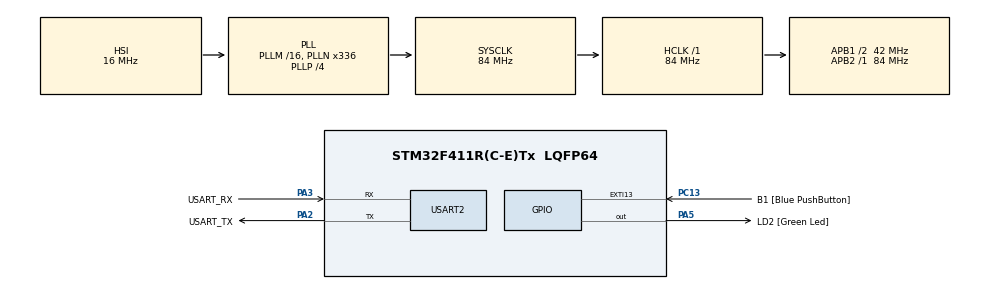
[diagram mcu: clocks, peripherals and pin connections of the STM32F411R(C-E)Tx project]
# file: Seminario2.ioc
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Mcu.Family=STM32F4
Mcu.Name=STM32F411R(C-E)Tx
Mcu.Package=LQFP64
NVIC.PriorityGroup=NVIC_PRIORITYGROUP_0
PA13.GPIO_Label=TMS
PA13.Mode=Serial_Wire
PA13.Signal=SYS_JTMS-SWDIO
PA14.GPIO_Label=TCK
PA14.Mode=Serial_Wire
PA14.Signal=SYS_JTCK-SWCLK
PA2.GPIO_Label=USART_TX
PA2.Mode=Asynchronous
PA2.Signal=USART2_TX
PA3.GPIO_Label=USART_RX
PA3.Mode=Asynchronous
PA3.Signal=USART2_RX
PA5.GPIO_Label=LD2 [Green Led]
PA5.Signal=GPIO_Output
PB3.GPIO_Label=SWO
PB3.Signal=SYS_JTDO-SWO
PC13-ANTI_TAMP.GPIO_Label=B1 [Blue PushButton]
PC13-ANTI_TAMP.GPIO_ModeDefaultEXTI=GPIO_MODE_IT_FALLING
PC13-ANTI_TAMP.Signal=GPXTI13
PC14-OSC32_IN.Mode=LSE-External-Oscillator
PC14-OSC32_IN.Signal=RCC_OSC32_IN
PC15-OSC32_OUT.Mode=LSE-External-Oscillator
PC15-OSC32_OUT.Signal=RCC_OSC32_OUT
PH0\ -\ OSC_IN.Mode=HSE-External-Clock-Source
PH0\ -\ OSC_IN.Signal=RCC_OSC_IN
PH1\ -\ OSC_OUT.Mode=HSE-External-Clock-Source
PH1\ -\ OSC_OUT.Signal=RCC_OSC_OUT
ProjectManager.HeapSize=0x200
ProjectManager.StackSize=0x400
ProjectManager.TargetToolchain=CMake
RCC.48MHZClocksFreq_Value=84000000
RCC.AHBFreq_Value=84000000
RCC.APB1CLKDivider=RCC_HCLK_DIV2
RCC.APB1Freq_Value=42000000
RCC.APB1TimFreq_Value=84000000
RCC.APB2Freq_Value=84000000
RCC.APB2TimFreq_Value=84000000
RCC.CortexFreq_Value=84000000
RCC.FLatency-AdvancedSettings=FLASH_LATENCY_2
RCC.HCLKFreq_Value=84000000
RCC.HSE_VALUE=8000000
RCC.HSI_VALUE=16000000
RCC.PLLN=336
RCC.PLLP=RCC_PLLP_DIV4
RCC.SYSCLKFreq_VALUE=84000000
RCC.SYSCLKSource=RCC_SYSCLKSOURCE_PLLCLK
RCC.VCOOutputFreq_Value=336000000
USART2.VirtualMode=VM_ASYNC
board=NUCLEO-F411RE

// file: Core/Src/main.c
/* USER CODE BEGIN Header */
/**
  ******************************************************************************
  * @file           : main.c
  * @brief          : Main program body
  ******************************************************************************
  * @attention
  *
  * Copyright (c) 2026 STMicroelectronics.
  * All rights reserved.
  *
  * This software is licensed under terms that can be found in the LICENSE file
  * in the root directory of this software component.
  * If no LICENSE file comes with this software, it is provided AS-IS.
  *
  ******************************************************************************
  */
/* USER CODE END Header */
#include "main.h"

/* USER CODE BEGIN Includes */
#include <stdio.h>
/* USER CODE END Includes */

/* USER CODE BEGIN PD */
#define ABS(a)  (a < 0 ? -a : a)
#define PRINTVEC(v,a,b)                         \
do {                                              \
    int _i; \
    int _longitud = sizeof(v) / sizeof(v[0]);     \
    if ((a) <= (b) && (a) >= 0 && (b) < _longitud) {   \
        for (_i = (a); _i <= (b); _i++) {         \
            printf("Abs en posición %d: %d\n",    \
                   _i, ABS((v)[_i]));             \
        }                                         \
    } else {                                      \
        printf("Índices fuera de rango\n");       \
    }                                             \
} while(0)
/* USER CODE END PD */

UART_HandleTypeDef huart2;

/* USER CODE BEGIN PV */
int _write(int file, char *ptr, int len){
    int DataIdx;
    for (DataIdx = 0; DataIdx < len; DataIdx++){
   	//ITM_SendChar( *ptr++ );
   	HAL_UART_Transmit(&huart2, (uint8_t*)ptr++,1,1000);
    }
    return len;
}

/* USER CODE END PV */

void SystemClock_Config(void);
static void MX_GPIO_Init(void);
static void MX_USART2_UART_Init(void);

/* USER CODE BEGIN 0 */
/*  punt1.c */

void ejer1(void){
 int v[3]={0,0,0}, *p=(int *) 1;

  printf ("\r\n\r\n\r\nEjer1\r\n\r\n");

  printf("1   	 v= %p ; Valores v: %d %d %d\r\n",v, v[0], v[1], v[2]);
  printf("2   	 p= %p ; Valores p: %x %x %x\r\n",p, p[0], p[1], p[2]);
  v[0]=9; v[1]=8; v[2]=7; v[3]=6;
  printf("3   	 v= %p ; Valores v: %d %d %d\r\n",v, v[0], v[1], v[2]);
  p=v;
  printf("4   	 p= %p ; Valores p: %d %d %d\r\n",p, p[0], p[1], p[2]);
}

void ejer2(void){
 int v[3]={0,0,0}, *p=(int *) 1;

  printf ("\r\n\r\n\r\nEjer2\r\n\r\n");

  printf("1   	 v= %p ; Valores v: %d %d %d\r\n",v, v[0], v[1], v[2]);
  printf("2   	 p= %p ; Valores p: %x %x %x\r\n",p, p[0], p[1], p[2]);
  v[0]=9; v[1]=8; v[2]=7; v[3]=6;
  printf("3   	 v= %p ; Valores v: %d %d %d\r\n",v, *v, *(v+1), *(v+2));
  p=v;
  printf("4   	 p= %p ; Valores p: %d %d %d\r\n",p, *p, *(p+1), *(p+2));
}

void ejer3(void){
 int v[3]={0,0,0}, *p=(int *) 1;
 int v1= 10, v2 = 15, v3 = 20;

  printf ("\r\n\r\n\r\nEjer3\r\n\r\n");
  p = &v1;
  printf("v1   	 p= %p ; Valores p: %d %d %d\r\n",p, p[0], p[1], p[2]);
  p = &v2;
  printf("v2   	 p= %p ; Valores p: %d %d %d\r\n",p, *p, *(p+1), *(p+2));
  p = &v3;
  printf("v3   	 p= %p ; Valores p: %d %d %d\r\n",p, *p, *(p+1), *(p+2));
  v[0]=9; v[1]=8; v[2]=7; v[3]=6;
  printf("--3.2--\n");

  p = &v[1];

  printf("v   	 p= %p ; Segundo elemento de p: %d\r\n",p, *p);
}

void ejer4(void){
  int v[3]={0,0,0}, *p=(int *) 1;
  int **ppi = &p;
  *ppi = v;
  int v1= 10, v2 = 15, v3 = 20;
   v[0]=9; v[1]=8; v[2]=7; v[3]=6;

  printf ("\r\n\r\n\r\nEjer4\r\n\r\n");
  printf("p   	 p= %p ; Valores p: %d %d %d\r\n",p, p[0], p[1], p[2]);
}

int suma1(int x1, int x2);
void suma2(int x1, int x2, int *x3);

void ejer5(void){
  int (*p_oper1)(int x1, int x2);
  void (*p_oper2)(int x1, int x2, int *x3);
  int a=6, b=2, c, d;
  printf ("\r\r\n\r\r\nEjer5\r\r\n\r\r\n");
  p_oper1 = suma1;
  c = p_oper1(a, b);
  printf("a + b = %d\r\r\n",c);
  p_oper2 = suma2;
  p_oper2(a, b, &d); printf("a + b = %d\r\r\n",d);

  printf("\n--- FUNCIONES (FLASH) ---\n");
  printf("p_oper1 = %p\n", (void*)p_oper1);
  printf("p_oper2 = %p\n", (void*)p_oper2);
  printf("suma1   = %p\n", (void*)suma1);
  printf("suma2   = %p\n", (void*)suma2);

  printf("\n--- VARIABLES LOCALES (STACK - SRAM) ---\n");
  printf("&a        = %p\n", (void*)&a);
  printf("&b        = %p\n", (void*)&b);
  printf("&c        = %p\n", (void*)&c);
  printf("&d        = %p\n", (void*)&d);

  printf("\n--- PUNTEROS (también en STACK) ---\n");
  printf("&p_oper1  = %p\n", (void*)&p_oper1);
  printf("&p_oper2  = %p\n\n", (void*)&p_oper2);

} /* end main */

void ejer5_4() {
      int a = -10;
    int b = 5;

    printf("ABS(%d) = %d\n", a, ABS(a));
    printf("ABS(%d) = %d\n", b, ABS(b));
}

void ejer5_5() {
  int v[] = { -3, 5, -8, 2, -1, 7 };

  PRINTVEC(v, 0, 5);
  PRINTVEC(v, 1, 3);
}

int suma1(int x1, int x2){
  return (x1+x2);
} /* end suma1 */

void suma2(int x1, int x2, int *x3){
  *x3= x1 + x2;
} /* end suma2 */

/* USER CODE END 0 */

int main(void)
{

  /* MCU Configuration--------------------------------------------------------*/

  /* Reset of all peripherals, Initializes the Flash interface and the Systick. */
  HAL_Init();

  /* Configure the system clock */
  SystemClock_Config();

  /* Initialize all configured peripherals */
  MX_GPIO_Init();
  MX_USART2_UART_Init();
  /* USER CODE BEGIN 2 */

  ejer1();

  ejer2();

  ejer3();

  ejer4();

  ejer5();

  ejer5_4();

  ejer5_5();

  /* USER CODE END 2 */

  /* Infinite loop */
  while (1)
  {

  }
}

void SystemClock_Config(void)
{
  RCC_OscInitTypeDef RCC_OscInitStruct = {0};
  RCC_ClkInitTypeDef RCC_ClkInitStruct = {0};

  /** Configure the main internal regulator output voltage
  */
  __HAL_RCC_PWR_CLK_ENABLE();
  __HAL_PWR_VOLTAGESCALING_CONFIG(PWR_REGULATOR_VOLTAGE_SCALE1);

  /** Initializes the RCC Oscillators according to the specified parameters
  * in the RCC_OscInitTypeDef structure.
  */
  RCC_OscInitStruct.OscillatorType = RCC_OSCILLATORTYPE_HSI;
  RCC_OscInitStruct.HSIState = RCC_HSI_ON;
  RCC_OscInitStruct.HSICalibrationValue = RCC_HSICALIBRATION_DEFAULT;
  RCC_OscInitStruct.PLL.PLLState = RCC_PLL_ON;
  RCC_OscInitStruct.PLL.PLLSource = RCC_PLLSOURCE_HSI;
  RCC_OscInitStruct.PLL.PLLM = 16;
  RCC_OscInitStruct.PLL.PLLN = 336;
  RCC_OscInitStruct.PLL.PLLP = RCC_PLLP_DIV4;
  RCC_OscInitStruct.PLL.PLLQ = 4;
  if (HAL_RCC_OscConfig(&RCC_OscInitStruct) != HAL_OK)
  {
    Error_Handler();
  }

  /** Initializes the CPU, AHB and APB buses clocks
  */
  RCC_ClkInitStruct.ClockType = RCC_CLOCKTYPE_HCLK|RCC_CLOCKTYPE_SYSCLK
                              |RCC_CLOCKTYPE_PCLK1|RCC_CLOCKTYPE_PCLK2;
  RCC_ClkInitStruct.SYSCLKSource = RCC_SYSCLKSOURCE_PLLCLK;
  RCC_ClkInitStruct.AHBCLKDivider = RCC_SYSCLK_DIV1;
  RCC_ClkInitStruct.APB1CLKDivider = RCC_HCLK_DIV2;
  RCC_ClkInitStruct.APB2CLKDivider = RCC_HCLK_DIV1;

  if (HAL_RCC_ClockConfig(&RCC_ClkInitStruct, FLASH_LATENCY_2) != HAL_OK)
  {
    Error_Handler();
  }
}

static void MX_USART2_UART_Init(void)
{

  huart2.Instance = USART2;
  huart2.Init.BaudRate = 115200;
  huart2.Init.WordLength = UART_WORDLENGTH_8B;
  huart2.Init.StopBits = UART_STOPBITS_1;
  huart2.Init.Parity = UART_PARITY_NONE;
  huart2.Init.Mode = UART_MODE_TX_RX;
  huart2.Init.HwFlowCtl = UART_HWCONTROL_NONE;
  huart2.Init.OverSampling = UART_OVERSAMPLING_16;
  if (HAL_UART_Init(&huart2) != HAL_OK)
  {
    Error_Handler();
  }

}

static void MX_GPIO_Init(void)
{
  GPIO_InitTypeDef GPIO_InitStruct = {0};

  /* GPIO Ports Clock Enable */
  __HAL_RCC_GPIOC_CLK_ENABLE();
  __HAL_RCC_GPIOH_CLK_ENABLE();
  __HAL_RCC_GPIOA_CLK_ENABLE();
  __HAL_RCC_GPIOB_CLK_ENABLE();

  /*Configure GPIO pin Output Level */
  HAL_GPIO_WritePin(LD2_GPIO_Port, LD2_Pin, GPIO_PIN_RESET);

  /*Configure GPIO pin : B1_Pin */
  GPIO_InitStruct.Pin = B1_Pin;
  GPIO_InitStruct.Mode = GPIO_MODE_IT_FALLING;
  GPIO_InitStruct.Pull = GPIO_NOPULL;
  HAL_GPIO_Init(B1_GPIO_Port, &GPIO_InitStruct);

  /*Configure GPIO pin : LD2_Pin */
  GPIO_InitStruct.Pin = LD2_Pin;
  GPIO_InitStruct.Mode = GPIO_MODE_OUTPUT_PP;
  GPIO_InitStruct.Pull = GPIO_NOPULL;
  GPIO_InitStruct.Speed = GPIO_SPEED_FREQ_LOW;
  HAL_GPIO_Init(LD2_GPIO_Port, &GPIO_InitStruct);

}

void Error_Handler(void)
{
  __disable_irq();
  while (1)
  {
  }
}
